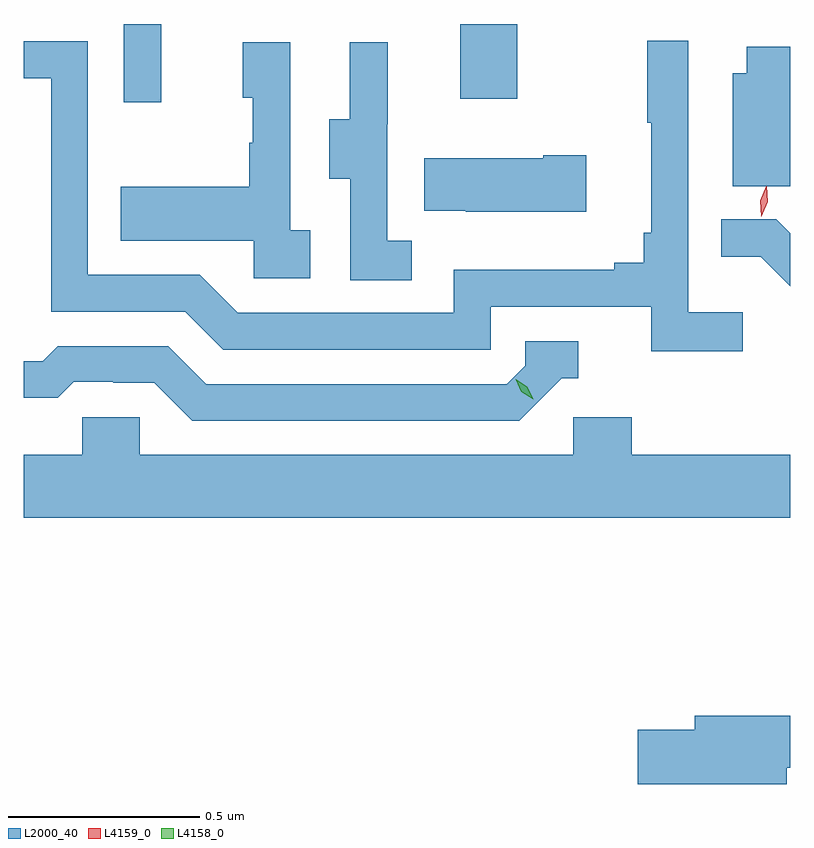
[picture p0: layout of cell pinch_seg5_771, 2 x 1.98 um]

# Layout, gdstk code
import gdstk
lib = gdstk.Library(unit=1e-6, precision=1e-09)
def R(c, l, rs):  # rectangles x0, y0, x1, y1
    for r in rs: c.add(gdstk.rectangle(r[:2], r[2:], *l))
def P(c, l, *ps):  # polygons
    for p in ps: c.add(gdstk.Polygon(p, *l))
L2000_40 = (2000, 40)
L4158_0 = (4158, 0)
L4159_0 = (4159, 0)

pinch_seg5_771 = lib.new_cell('pinch_seg5_771')
R(pinch_seg5_771, L2000_40, [(827.109,901.8,827.207,902.004), (827.987,901.809,828.135,902.004)])
P(pinch_seg5_771, L2000_40, [(828.724,901.252),(828.582,901.252),(828.582,901.96),(828.474,901.96),(828.474,901.747),(828.485,901.747),(828.485,901.459),(828.466,901.459),(828.466,901.382),(828.389,901.382),(828.389,901.363),(827.97,901.363),(827.97,901.251),(827.406,901.251),(827.307,901.35),(827.016,901.35),(827.016,901.959),(826.848,901.959),(826.848,901.863),(826.92,901.863),(826.92,901.254),(827.27,901.254),(827.369,901.155),(828.066,901.155),(828.066,901.266),(828.485,901.266),(828.485,901.15),(828.724,901.15)],
  [(827.86,901.439),(827.796,901.439),(827.796,901.743),(827.798,901.743),(827.798,901.957),(827.699,901.957),(827.699,901.755),(827.645,901.755),(827.645,901.6),(827.7,901.6),(827.7,901.336),(827.86,901.336)],
  [(827.596,901.466),(827.544,901.466),(827.544,901.957),(827.42,901.957),(827.42,901.812),(827.446,901.812),(827.446,901.694),(827.436,901.694),(827.436,901.579),(827.101,901.579),(827.101,901.439),(827.448,901.439),(827.448,901.341),(827.596,901.341)],
  [(828.848,901.945),(828.734,901.945),(828.734,901.876),(828.698,901.876),(828.698,901.581),(828.848,901.581)],
  [(828.316,901.662),(828.203,901.662),(828.203,901.654),(827.893,901.654),(827.893,901.517),(828.001,901.517),(828.001,901.514),(828.316,901.514)],
  [(828.848,901.458),(828.811,901.495),(828.667,901.495),(828.667,901.397),(828.771,901.397),(828.848,901.32)],
  [(828.252,901.08),(828.295,901.08),(828.295,901.176),(828.156,901.176),(828.156,901.113),(828.108,901.065),(827.325,901.065),(827.226,901.164),(826.937,901.164),(826.898,901.125),(826.848,901.125),(826.848,901.029),(826.937,901.029),(826.979,901.071),(827.082,901.071),(827.082,901.068),(827.189,901.068),(827.288,900.969),(828.141,900.969)],
  [(828.848,900.88),(828.434,900.88),(828.434,900.978),(828.282,900.978),(828.282,900.88),(827.151,900.88),(827.151,900.978),(827.001,900.978),(827.001,900.88),(826.848,900.88),(826.848,900.716),(828.848,900.716)],
  [(828.838,900.064),(828.848,900.064),(828.848,900.2),(828.599,900.2),(828.599,900.164),(828.45,900.164),(828.45,900.022),(828.838,900.022)])
P(pinch_seg5_771, L4158_0, [(828.177,901.025),(828.146,901.045),(828.131,901.078),(828.131,901.078),(828.131,901.078),(828.162,901.058),(828.177,901.025),(828.177,901.025)])
P(pinch_seg5_771, L4159_0, [(828.772,901.501),(828.772,901.501),(828.769,901.543),(828.785,901.581),(828.785,901.581),(828.786,901.581),(828.789,901.54),(828.772,901.501)])

lib.write_gds('pinch_seg5_771.gds')
